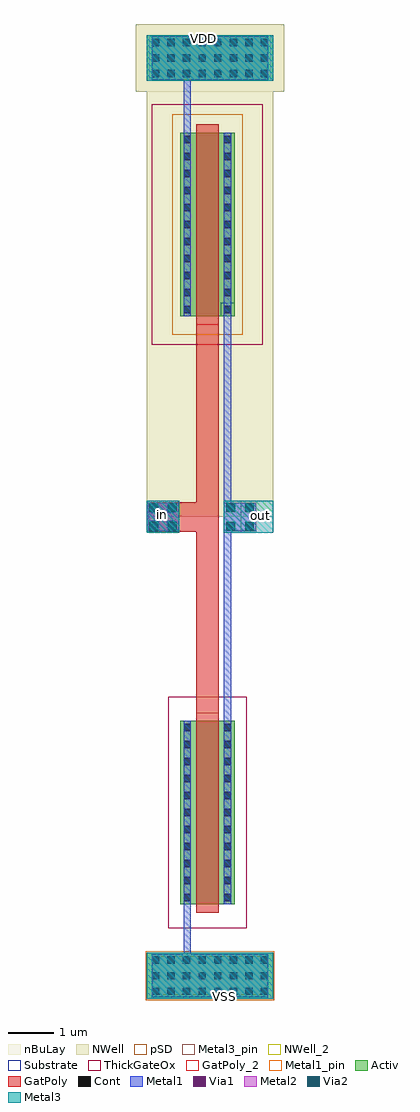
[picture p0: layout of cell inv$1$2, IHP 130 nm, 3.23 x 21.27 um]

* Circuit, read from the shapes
.subckt inv$1$2 VDD VSS in out
XM1 out in VSUBS VSUBS sg13_hv_nmos w=4u l=0.5u
XM2 out in ntap1$2$2_2/well ntap1$2$2_2/well sg13_hv_pmos w=4u l=0.5u
.ends

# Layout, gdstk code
import gdstk
lib = gdstk.Library(unit=1e-6, precision=1e-09)
def R(c, l, rs):  # rectangles x0, y0, x1, y1
    for r in rs: c.add(gdstk.rectangle(r[:2], r[2:], *l))
def A(c, l, x, y, w, h, nx, ny, dx, dy):  # array of equal rectangles
    R(c, l, [(x+i*dx, y+j*dy, x+i*dx+w, y+j*dy+h) for i in range(nx) for j in range(ny)])
Activ = (1, 0)
GatPoly = (5, 0)
GatPoly_2 = (5, 2)
Cont = (6, 0)
Metal1 = (8, 0)
Metal1_pin = (8, 2)
Metal2 = (10, 0)
pSD = (14, 0)
Via1 = (19, 0)
Via2 = (29, 0)
Metal3 = (30, 0)
Metal3_pin = (30, 2)
NWell = (31, 0)
NWell_2 = (31, 2)
nBuLay = (32, 0)
Substrate = (40, 0)
ThickGateOx = (44, 0)

nmoshv_1_3_2 = lib.new_cell('nmosHV$1$3$2')
R(nmoshv_1_3_2, Activ, [(0,0,0.3,0.3), (0,0,1.18,4), (0.88,0,1.18,0.3)])
R(nmoshv_1_3_2, GatPoly, [(0.34,-0.18,0.84,4.18)])
R(nmoshv_1_3_2, GatPoly_2, [(0.34,-0.18,0.84,4.18)])
A(nmoshv_1_3_2, Cont, 0.07, 0.07, 0.16, 0.16, 1, 11, 0, 0.37)
A(nmoshv_1_3_2, Cont, 0.95, 0.07, 0.16, 0.16, 1, 11, 0, 0.37)
R(nmoshv_1_3_2, Metal1, [(0.07,0,0.23,4), (0.95,0,1.11,4)])
R(nmoshv_1_3_2, Metal1_pin, [(0.07,0,0.23,4), (0.95,0,1.11,4)])
R(nmoshv_1_3_2, ThickGateOx, [(-0.27,-0.52,1.45,4.52)])
nmoshv_1_3_2.add(gdstk.Label('nmosHV', (0.59,2), layer=63, texttype=0))

pmoshv_1_1_2 = lib.new_cell('pmosHV$1$1$2')
R(pmoshv_1_1_2, Activ, [(0,0,0.3,0.3), (0,0,1.18,4), (0.88,0,1.18,0.3)])
R(pmoshv_1_1_2, GatPoly, [(0.34,-0.18,0.84,4.18)])
R(pmoshv_1_1_2, GatPoly_2, [(0.34,-0.18,0.84,4.18)])
A(pmoshv_1_1_2, Cont, 0.07, 0.07, 0.16, 0.16, 1, 11, 0, 0.37)
A(pmoshv_1_1_2, Cont, 0.95, 0.07, 0.16, 0.16, 1, 11, 0, 0.37)
R(pmoshv_1_1_2, Metal1, [(0.07,0,0.23,4), (0.95,0,1.11,4)])
R(pmoshv_1_1_2, Metal1_pin, [(0.07,0,0.23,4), (0.95,0,1.11,4)])
R(pmoshv_1_1_2, pSD, [(-0.18,-0.4,1.36,4.4)])
R(pmoshv_1_1_2, NWell, [(-0.62,-0.62,1.8,4.62)])
R(pmoshv_1_1_2, Substrate, [(0.88,0,1.18,0.3)])
R(pmoshv_1_1_2, ThickGateOx, [(-0.62,-0.62,1.8,4.62)])
pmoshv_1_1_2.add(gdstk.Label('pmosHV', (0.59,2), layer=63, texttype=0))

ntap1_2_2 = lib.new_cell('ntap1$2$2')
R(ntap1_2_2, Activ, [(0,0,2.75,1)])
A(ntap1_2_2, Cont, 0.105, 0.08, 0.16, 0.16, 8, 3, 0.34, 0.34)
R(ntap1_2_2, Metal1, [(0.105,0.03,2.645,0.97)])
R(ntap1_2_2, Metal1_pin, [(0.105,0.03,2.645,0.97), (0.105,0.08,2.645,0.92)])
R(ntap1_2_2, NWell, [(-0.24,-0.24,2.99,1.24), (0,0,2.75,1)])
R(ntap1_2_2, NWell_2, [(0,0,2.75,1)])
R(ntap1_2_2, nBuLay, [(-0.24,-0.24,2.99,1.24)])
ntap1_2_2.add(gdstk.Label('well', (1.375,0.01), layer=63, texttype=0))
ntap1_2_2.add(gdstk.Label('well', (1.375,0.01), layer=31, texttype=0))

ptap1_1_1_2 = lib.new_cell('ptap1$1$1$2')
R(ptap1_1_1_2, Activ, [(0,0,2.75,1)])
A(ptap1_1_1_2, Cont, 0.105, 0.08, 0.16, 0.16, 8, 3, 0.34, 0.34)
R(ptap1_1_1_2, Metal1, [(0.105,0.03,2.645,0.97), (0.105,0.08,2.645,0.92)])
R(ptap1_1_1_2, Metal1_pin, [(0.105,0.08,2.645,0.92)])
R(ptap1_1_1_2, pSD, [(-0.03,-0.03,2.78,1.03)])
R(ptap1_1_1_2, Substrate, [(0,0,2.75,1)])
ptap1_1_1_2.add(gdstk.Label('sub!', (1.375,0.01), layer=63, texttype=0))
ptap1_1_1_2.add(gdstk.Label('sub!', (1.375,0.01), layer=40, texttype=0))

via_stack_9_1_2 = lib.new_cell('via_stack$9$1$2')
R(via_stack_9_1_2, GatPoly, [(-0.32,-0.32,0.32,0.32)])
R(via_stack_9_1_2, Cont, [(-0.25,-0.25,-0.09,-0.09), (0.09,-0.25,0.25,-0.09), (-0.25,0.09,-0.09,0.25), (0.09,0.09,0.25,0.25)])
R(via_stack_9_1_2, Metal1, [(-0.35,-0.31,0.35,0.31)])
R(via_stack_9_1_2, Metal2, [(-0.35,-0.305,0.35,0.305)])
R(via_stack_9_1_2, Via1, [(-0.3,-0.3,-0.11,-0.11), (0.11,-0.3,0.3,-0.11), (-0.3,0.11,-0.11,0.3), (0.11,0.11,0.3,0.3)])
R(via_stack_9_1_2, Via2, [(-0.3,-0.3,-0.11,-0.11), (0.11,-0.3,0.3,-0.11), (-0.3,0.11,-0.11,0.3), (0.11,0.11,0.3,0.3)])
R(via_stack_9_1_2, Metal3, [(-0.35,-0.305,0.35,0.305)])

via_stack_20_1_2 = lib.new_cell('via_stack$20$1$2')
R(via_stack_20_1_2, Metal1, [(-0.35,-0.31,0.35,0.31)])
R(via_stack_20_1_2, Metal2, [(-0.35,-0.305,0.35,0.305)])
R(via_stack_20_1_2, Via1, [(-0.3,-0.3,-0.11,-0.11), (0.11,-0.3,0.3,-0.11), (-0.3,0.11,-0.11,0.3), (0.11,0.11,0.3,0.3)])
R(via_stack_20_1_2, Via2, [(-0.3,-0.3,-0.11,-0.11), (0.11,-0.3,0.3,-0.11), (-0.3,0.11,-0.11,0.3), (0.11,0.11,0.3,0.3)])
R(via_stack_20_1_2, Metal3, [(-0.35,-0.305,0.35,0.305)])

inv_1_2 = lib.new_cell('inv$1$2')
R(inv_1_2, GatPoly, [(1.07,5.48,1.57,14.495), (0.03,9.68,1.07,10.32)])
R(inv_1_2, Metal1, [(0.8,-0.25,0.96,5.555), (1.68,1.555,1.84,18.37), (0.8,14.37,0.96,20.25)])
R(inv_1_2, Metal3, [(0,-0.5,2.75,0.5), (0,9.65,0.7,10.35), (0,19.5,2.75,20.5)])
R(inv_1_2, Metal3_pin, [(0,-0.5,2.75,0.5), (0,9.65,0.7,10.35), (2.05,9.65,2.75,10.35), (0,19.5,2.75,20.5)])
R(inv_1_2, NWell, [(0,10,2.75,20)])
inv_1_2.add(gdstk.FlexPath([(1.68,10),(2.75,10),(2.75,10)], 0.7, ends="flush", simple_path=True, layer=30, datatype=0))  # Metal3
inv_1_2.add(gdstk.Reference(nmoshv_1_3_2, (0.73,1.555)))
inv_1_2.add(gdstk.Reference(pmoshv_1_1_2, (0.73,14.37)))
inv_1_2.add(gdstk.Reference(ntap1_2_2, (0,19.5)))
inv_1_2.add(gdstk.Reference(ptap1_1_1_2, (0,-0.5)))
inv_1_2.add(gdstk.Reference(via_stack_9_1_2, (0.35,10)))
inv_1_2.add(gdstk.Reference(via_stack_20_1_2, (2.03,10)))
inv_1_2.add(gdstk.Label('out', (2.465,10.02), layer=30, texttype=25))
inv_1_2.add(gdstk.Label('in', (0.35,10.04), layer=30, texttype=25))
inv_1_2.add(gdstk.Label('VDD', (1.234,20.419), layer=30, texttype=25))
inv_1_2.add(gdstk.Label('VSS', (1.698,-0.452), layer=30, texttype=25))

lib.write_gds('inv_1_2.gds')
